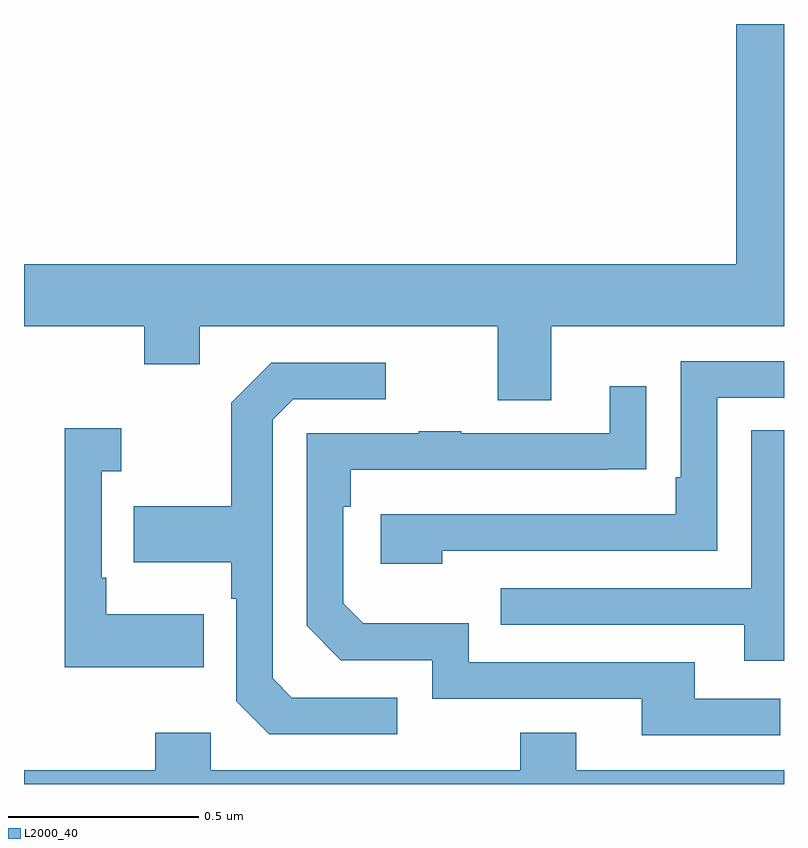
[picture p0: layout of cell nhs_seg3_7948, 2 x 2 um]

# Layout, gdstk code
import gdstk
lib = gdstk.Library(unit=1e-6, precision=1e-09)
def P(c, l, *ps):  # polygons
    for p in ps: c.add(gdstk.Polygon(p, *l))
L2000_40 = (2000, 40)

nhs_seg3_7948 = lib.new_cell('nhs_seg3_7948')
P(nhs_seg3_7948, L2000_40, [(211.387,679.604),(212,679.604),(212,680.4),(211.874,680.4),(211.874,679.768),(210,679.768),(210,679.604),(210.316,679.604),(210.316,679.505),(210.463,679.505),(210.463,679.604),(211.247,679.604),(211.247,679.41),(211.387,679.41)],
  [(211.1,679.014),(211.824,679.014),(211.824,679.416),(212,679.416),(212,679.512),(211.728,679.512),(211.728,679.207),(211.715,679.207),(211.715,679.11),(210.939,679.11),(210.939,678.98),(211.1,678.98)],
  [(210.982,678.627),(210.705,678.627),(210.654,678.678),(210.654,679.359),(210.708,679.413),(210.952,679.413),(210.952,679.509),(210.651,679.509),(210.546,679.403),(210.546,679.131),(210.289,679.131),(210.289,678.983),(210.546,678.983),(210.546,678.887),(210.558,678.887),(210.558,678.618),(210.645,678.531),(210.982,678.531)],
  [(211.99,678.624),(211.765,678.624),(211.765,678.72),(211.17,678.72),(211.17,678.823),(210.893,678.823),(210.84,678.876),(210.84,679.13),(210.86,679.13),(210.86,679.227),(211.535,679.227),(211.535,679.228),(211.637,679.228),(211.637,679.447),(211.541,679.447),(211.541,679.323),(211.151,679.323),(211.151,679.328),(211.039,679.328),(211.039,679.323),(210.744,679.323),(210.744,678.816),(210.834,678.726),(211.074,678.726),(211.074,678.624),(211.625,678.624),(211.625,678.528),(211.99,678.528)],
  [(210.473,678.847),(210.217,678.847),(210.217,678.943),(210.204,678.943),(210.204,679.223),(210.256,679.223),(210.256,679.336),(210.107,679.336),(210.107,678.707),(210.473,678.707)],
  [(212,679.331),(211.914,679.331),(211.914,678.915),(211.255,678.915),(211.255,678.819),(211.895,678.819),(211.895,678.725),(212,678.725)],
  [(212,678.436),(211.453,678.436),(211.453,678.535),(211.306,678.535),(211.306,678.436),(210.492,678.436),(210.492,678.535),(210.346,678.535),(210.346,678.436),(210,678.436),(210,678.4),(212,678.4)])

lib.write_gds('nhs_seg3_7948.gds')
